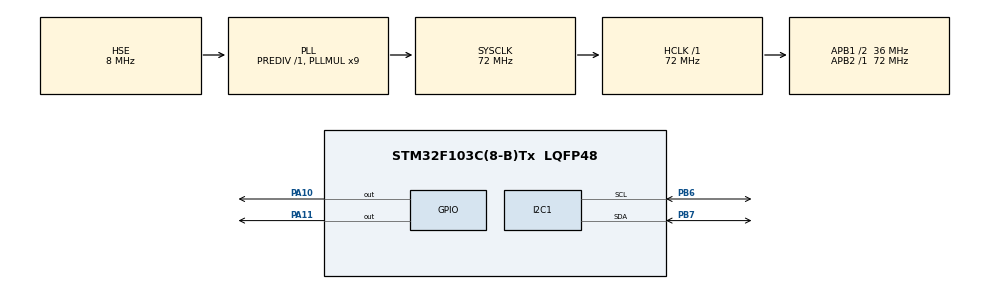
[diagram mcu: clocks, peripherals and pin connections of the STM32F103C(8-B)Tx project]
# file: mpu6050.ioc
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I2C1.I2C_Mode=I2C_Fast
Mcu.Family=STM32F1
Mcu.Name=STM32F103C(8-B)Tx
Mcu.Package=LQFP48
NVIC.PriorityGroup=NVIC_PRIORITYGROUP_4
PA10.GPIO_ModeDefaultOutputPP=GPIO_MODE_OUTPUT_OD
PA10.GPIO_PuPd=GPIO_NOPULL
PA10.GPIO_Speed=GPIO_SPEED_FREQ_HIGH
PA10.PinState=GPIO_PIN_SET
PA10.Signal=GPIO_Output
PA11.GPIO_ModeDefaultOutputPP=GPIO_MODE_OUTPUT_OD
PA11.GPIO_PuPd=GPIO_NOPULL
PA11.GPIO_Speed=GPIO_SPEED_FREQ_HIGH
PA11.PinState=GPIO_PIN_SET
PA11.Signal=GPIO_Output
PA13.Mode=Serial_Wire
PA13.Signal=SYS_JTMS-SWDIO
PA14.Mode=Serial_Wire
PA14.Signal=SYS_JTCK-SWCLK
PB6.Mode=I2C
PB6.Signal=I2C1_SCL
PB7.Mode=I2C
PB7.Signal=I2C1_SDA
PD0-OSC_IN.Mode=HSE-External-Oscillator
PD0-OSC_IN.Signal=RCC_OSC_IN
PD1-OSC_OUT.Mode=HSE-External-Oscillator
PD1-OSC_OUT.Signal=RCC_OSC_OUT
ProjectManager.HeapSize=0x200
ProjectManager.StackSize=0x400
ProjectManager.TargetToolchain=MDK-ARM V5.32
RCC.AHBFreq_Value=72000000
RCC.APB1CLKDivider=RCC_HCLK_DIV2
RCC.APB1Freq_Value=36000000
RCC.APB1TimFreq_Value=72000000
RCC.APB2Freq_Value=72000000
RCC.APB2TimFreq_Value=72000000
RCC.HCLKFreq_Value=72000000
RCC.PLLMUL=RCC_PLL_MUL9
RCC.PLLSourceVirtual=RCC_PLLSOURCE_HSE
RCC.SYSCLKFreq_VALUE=72000000
RCC.SYSCLKSource=RCC_SYSCLKSOURCE_PLLCLK
RCC.USBFreq_Value=72000000
TIM4.Period=65535
TIM4.Prescaler=71
VP_TIM4_VS_ClockSourceINT.Mode=Internal
board=custom

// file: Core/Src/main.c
/* USER CODE BEGIN Header */
/**
 ******************************************************************************
 * @file           : main.c
 * @brief          : Main program body
 ******************************************************************************
 * @attention
 *
 * Copyright (c) 2024 STMicroelectronics.
 * All rights reserved.
 *
 * This software is licensed under terms that can be found in the LICENSE file
 * in the root directory of this software component.
 * If no LICENSE file comes with this software, it is provided AS-IS.
 *
 ******************************************************************************
 */
/* USER CODE END Header */
#include "main.h"
#include "i2c.h"
#include "tim.h"
#include "gpio.h"

/* USER CODE BEGIN Includes */
#include "oled.h"
#include "mpu6050.h"
#include <stdio.h>
#include "kalman_masetr.h"

/* USER CODE END Includes */

void SystemClock_Config(void);

int main(void)
{

  /* MCU Configuration--------------------------------------------------------*/

  /* Reset of all peripherals, Initializes the Flash interface and the Systick. */
  HAL_Init();

  /* Configure the system clock */
  SystemClock_Config();

  /* Initialize all configured peripherals */
  MX_GPIO_Init();
  MX_I2C1_Init();
  MX_TIM4_Init();
  /* USER CODE BEGIN 2 */

  OLED_Init();
  OLED_NewFrame();
  char buffer[50];
  MPU6050_t data;
  MPU6050_Init();

  /* USER CODE END 2 */

  /* Infinite loop */
  /* USER CODE BEGIN WHILE */
  while (1)
  {

    MPU6050_Read_All(&data);
    sprintf(buffer, "roll: %f", data.KalmanAngleX);
    OLED_PrintASCIIString(0, 0, buffer, &afont8x6, OLED_COLOR_NORMAL);
    sprintf(buffer, "pitch: %f", data.KalmanAngleY);
    OLED_PrintASCIIString(0, 10, buffer, &afont8x6, OLED_COLOR_NORMAL);

    //新增一行代码用于测试git版本回退,无实际意义
    OLED_PrintASCIIString(0, 20, "git-test", &afont8x6, OLED_COLOR_NORMAL);

    // 刷新 OLED 显示
    OLED_ShowFrame();
    /* USER CODE END WHILE */

  }
}

void SystemClock_Config(void)
{
  RCC_OscInitTypeDef RCC_OscInitStruct = {0};
  RCC_ClkInitTypeDef RCC_ClkInitStruct = {0};

  /** Initializes the RCC Oscillators according to the specified parameters
   * in the RCC_OscInitTypeDef structure.
   */
  RCC_OscInitStruct.OscillatorType = RCC_OSCILLATORTYPE_HSE;
  RCC_OscInitStruct.HSEState = RCC_HSE_ON;
  RCC_OscInitStruct.HSEPredivValue = RCC_HSE_PREDIV_DIV1;
  RCC_OscInitStruct.HSIState = RCC_HSI_ON;
  RCC_OscInitStruct.PLL.PLLState = RCC_PLL_ON;
  RCC_OscInitStruct.PLL.PLLSource = RCC_PLLSOURCE_HSE;
  RCC_OscInitStruct.PLL.PLLMUL = RCC_PLL_MUL9;
  if (HAL_RCC_OscConfig(&RCC_OscInitStruct) != HAL_OK)
  {
    Error_Handler();
  }

  /** Initializes the CPU, AHB and APB buses clocks
   */
  RCC_ClkInitStruct.ClockType = RCC_CLOCKTYPE_HCLK | RCC_CLOCKTYPE_SYSCLK | RCC_CLOCKTYPE_PCLK1 | RCC_CLOCKTYPE_PCLK2;
  RCC_ClkInitStruct.SYSCLKSource = RCC_SYSCLKSOURCE_PLLCLK;
  RCC_ClkInitStruct.AHBCLKDivider = RCC_SYSCLK_DIV1;
  RCC_ClkInitStruct.APB1CLKDivider = RCC_HCLK_DIV2;
  RCC_ClkInitStruct.APB2CLKDivider = RCC_HCLK_DIV1;

  if (HAL_RCC_ClockConfig(&RCC_ClkInitStruct, FLASH_LATENCY_2) != HAL_OK)
  {
    Error_Handler();
  }
}

void Error_Handler(void)
{
  __disable_irq();
  while (1)
  {
  }
}
